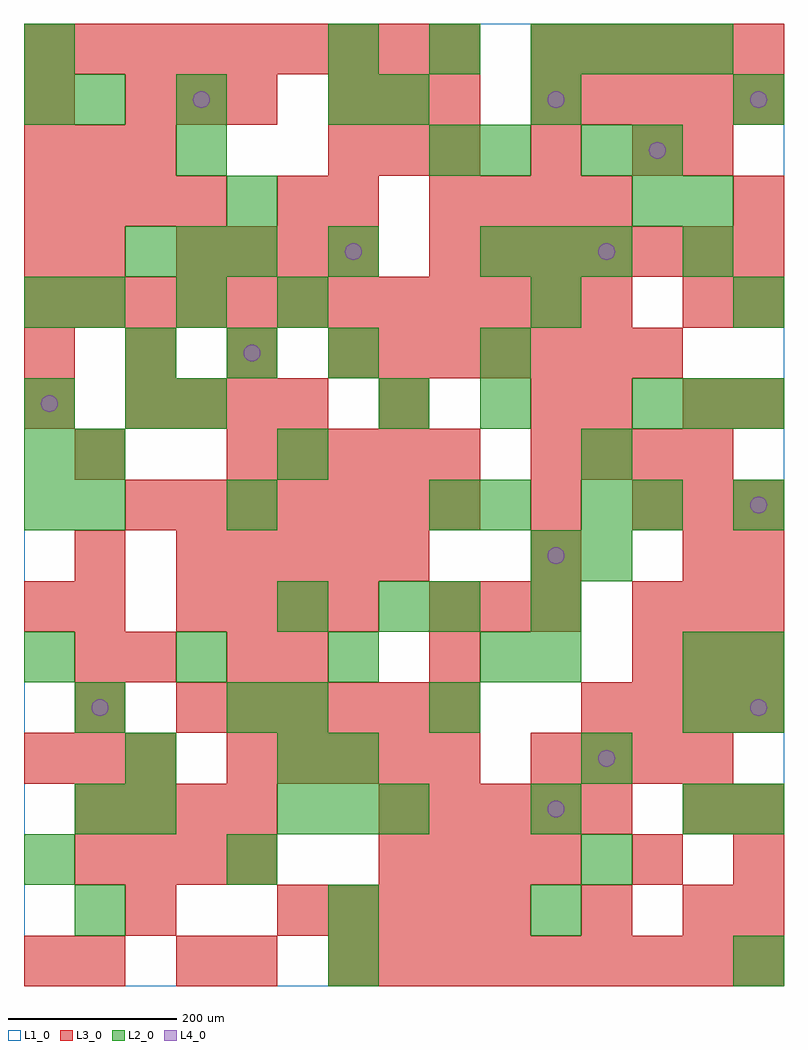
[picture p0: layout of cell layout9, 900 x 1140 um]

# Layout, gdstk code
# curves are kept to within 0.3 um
import gdstk
lib = gdstk.Library(unit=1e-6, precision=1e-09)
def R(c, l, rs):  # rectangles x0, y0, x1, y1
    for r in rs: c.add(gdstk.rectangle(r[:2], r[2:], *l))
def A(c, l, x, y, w, h, nx, ny, dx, dy):  # array of equal rectangles
    R(c, l, [(x+i*dx, y+j*dy, x+i*dx+w, y+j*dy+h) for i in range(nx) for j in range(ny)])
def P(c, l, *ps):  # polygons
    for p in ps: c.add(gdstk.Polygon(p, *l))
L1_0 = (1, 0)
L2_0 = (2, 0)
L3_0 = (3, 0)
L4_0 = (4, 0)

layout9 = lib.new_cell('layout9')
R(layout9, L1_0, [(0,0,900,1140)])
A(layout9, L2_0, 60, 60, 60, 60, 1, 3, 0, 120)
A(layout9, L2_0, 300, 180, 60, 60, 3, 1, 60, 0)
A(layout9, L2_0, 480, 300, 60, 60, 1, 3, 0, 120)
A(layout9, L2_0, 0, 360, 60, 60, 4, 1, 180, 0)
A(layout9, L2_0, 600, 360, 60, 60, 1, 3, 0, 60)
A(layout9, L2_0, 660, 480, 60, 60, 1, 3, 0, 60)
A(layout9, L2_0, 0, 540, 60, 60, 1, 3, 0, 60)
A(layout9, L2_0, 840, 540, 60, 60, 1, 3, 0, 240)
A(layout9, L2_0, 720, 660, 60, 60, 3, 1, 60, 0)
A(layout9, L2_0, 120, 720, 60, 60, 3, 1, 120, 0)
A(layout9, L2_0, 60, 780, 60, 60, 3, 1, 120, 0)
A(layout9, L2_0, 120, 840, 60, 60, 3, 1, 60, 0)
A(layout9, L2_0, 540, 840, 60, 60, 3, 1, 60, 0)
A(layout9, L2_0, 360, 1080, 60, 60, 3, 1, 120, 0)
A(layout9, L2_0, 660, 1080, 60, 60, 3, 1, 60, 0)
R(layout9, L2_0, [(360,0,420,60), (840,0,900,60), (360,60,420,120), (600,60,660,120), (0,120,60,180), (240,120,300,180), (660,120,720,180), (120,180,180,240), (600,180,660,240), (780,180,840,240), (840,180,900,240), (120,240,180,300), (300,240,360,300), (360,240,420,300), (660,240,720,300), (240,300,300,360), (300,300,360,360), (780,300,840,360), (840,300,900,360), (780,360,840,420), (840,360,900,420), (300,420,360,480), (420,420,480,480), (60,540,120,600), (240,540,300,600), (540,540,600,600), (720,540,780,600), (60,600,120,660), (300,600,360,660), (120,660,180,720), (180,660,240,720), (420,660,480,720), (540,660,600,720), (540,720,600,780), (0,780,60,840), (600,780,660,840), (360,840,420,900), (780,840,840,900), (240,900,300,960), (720,900,780,960), (780,900,840,960), (180,960,240,1020), (480,960,540,1020), (540,960,600,1020), (660,960,720,1020), (720,960,780,1020), (0,1020,60,1080), (60,1020,120,1080), (180,1020,240,1080), (360,1020,420,1080), (420,1020,480,1080), (600,1020,660,1080), (0,1080,60,1140)])
A(layout9, L3_0, 360, 0, 60, 60, 9, 1, 60, 0)
A(layout9, L3_0, 300, 60, 60, 60, 5, 1, 60, 0)
A(layout9, L3_0, 840, 60, 60, 60, 1, 3, 0, 60)
A(layout9, L3_0, 60, 120, 60, 60, 4, 2, 60, 60)
A(layout9, L3_0, 420, 120, 60, 60, 4, 1, 60, 0)
A(layout9, L3_0, 420, 180, 60, 60, 5, 1, 60, 0)
A(layout9, L3_0, 0, 240, 60, 60, 3, 2, 60, 720)
A(layout9, L3_0, 240, 240, 60, 60, 5, 2, 60, 360)
A(layout9, L3_0, 600, 240, 60, 60, 4, 2, 60, 360)
A(layout9, L3_0, 60, 300, 60, 60, 1, 4, 0, 60)
A(layout9, L3_0, 180, 300, 60, 60, 6, 1, 60, 0)
A(layout9, L3_0, 660, 300, 60, 60, 4, 1, 60, 0)
A(layout9, L3_0, 720, 360, 60, 60, 3, 2, 60, 60)
A(layout9, L3_0, 180, 420, 60, 60, 4, 2, 60, 420)
A(layout9, L3_0, 480, 420, 60, 60, 3, 1, 60, 0)
A(layout9, L3_0, 180, 480, 60, 60, 5, 1, 60, 0)
A(layout9, L3_0, 120, 540, 60, 60, 7, 1, 60, 0)
A(layout9, L3_0, 720, 540, 60, 60, 3, 1, 60, 0)
A(layout9, L3_0, 0, 660, 60, 60, 1, 3, 0, 180)
A(layout9, L3_0, 120, 660, 60, 60, 4, 1, 60, 0)
A(layout9, L3_0, 840, 660, 60, 60, 1, 3, 0, 120)
A(layout9, L3_0, 0, 720, 60, 60, 4, 1, 120, 0)
A(layout9, L3_0, 420, 720, 60, 60, 6, 1, 60, 0)
A(layout9, L3_0, 0, 780, 60, 60, 12, 1, 60, 0)
A(layout9, L3_0, 480, 840, 60, 60, 7, 1, 60, 0)
A(layout9, L3_0, 0, 900, 60, 60, 4, 1, 60, 0)
A(layout9, L3_0, 480, 900, 60, 60, 4, 1, 60, 0)
A(layout9, L3_0, 360, 960, 60, 60, 3, 2, 60, 60)
A(layout9, L3_0, 120, 1020, 60, 60, 3, 1, 60, 0)
A(layout9, L3_0, 600, 1020, 60, 60, 5, 2, 60, 60)
A(layout9, L3_0, 0, 1080, 60, 60, 9, 1, 60, 0)
R(layout9, L3_0, [(0,0,60,60), (60,0,120,60), (180,0,240,60), (240,0,300,60), (120,60,180,120), (660,60,720,120), (780,60,840,120), (720,120,780,180), (780,180,840,240), (120,360,180,420), (240,360,300,420), (300,360,360,420), (480,360,540,420), (0,420,60,480), (600,480,660,540), (780,480,840,540), (840,480,900,540), (600,540,660,600), (60,600,120,660), (420,660,480,720), (600,660,660,720), (660,660,720,720), (780,660,840,720), (780,780,840,840), (60,840,120,900), (300,900,360,960), (360,900,420,960), (600,960,660,1020), (720,960,780,1020), (780,960,840,1020)])
P(layout9, L4_0, [(40,690),(39.239,693.827),(37.071,697.071),(33.827,699.239),(30,700),(26.173,699.239),(22.929,697.071),(20.761,693.827),(20,690),(20.761,686.173),(22.929,682.929),(26.173,680.761),(30,680),(33.827,680.761),(37.071,682.929),(39.239,686.173)],
  [(100,330),(99.239,333.827),(97.071,337.071),(93.827,339.239),(90,340),(86.173,339.239),(82.929,337.071),(80.761,333.827),(80,330),(80.761,326.173),(82.929,322.929),(86.173,320.761),(90,320),(93.827,320.761),(97.071,322.929),(99.239,326.173)],
  [(220,1050),(219.239,1053.827),(217.071,1057.071),(213.827,1059.239),(210,1060),(206.173,1059.239),(202.929,1057.071),(200.761,1053.827),(200,1050),(200.761,1046.173),(202.929,1042.929),(206.173,1040.761),(210,1040),(213.827,1040.761),(217.071,1042.929),(219.239,1046.173)],
  [(280,750),(279.239,753.827),(277.071,757.071),(273.827,759.239),(270,760),(266.173,759.239),(262.929,757.071),(260.761,753.827),(260,750),(260.761,746.173),(262.929,742.929),(266.173,740.761),(270,740),(273.827,740.761),(277.071,742.929),(279.239,746.173)],
  [(400,870),(399.239,873.827),(397.071,877.071),(393.827,879.239),(390,880),(386.173,879.239),(382.929,877.071),(380.761,873.827),(380,870),(380.761,866.173),(382.929,862.929),(386.173,860.761),(390,860),(393.827,860.761),(397.071,862.929),(399.239,866.173)],
  [(640,210),(639.239,213.827),(637.071,217.071),(633.827,219.239),(630,220),(626.173,219.239),(622.929,217.071),(620.761,213.827),(620,210),(620.761,206.173),(622.929,202.929),(626.173,200.761),(630,200),(633.827,200.761),(637.071,202.929),(639.239,206.173)],
  [(640,510),(639.239,513.827),(637.071,517.071),(633.827,519.239),(630,520),(626.173,519.239),(622.929,517.071),(620.761,513.827),(620,510),(620.761,506.173),(622.929,502.929),(626.173,500.761),(630,500),(633.827,500.761),(637.071,502.929),(639.239,506.173)],
  [(640,1050),(639.239,1053.827),(637.071,1057.071),(633.827,1059.239),(630,1060),(626.173,1059.239),(622.929,1057.071),(620.761,1053.827),(620,1050),(620.761,1046.173),(622.929,1042.929),(626.173,1040.761),(630,1040),(633.827,1040.761),(637.071,1042.929),(639.239,1046.173)],
  [(700,270),(699.239,273.827),(697.071,277.071),(693.827,279.239),(690,280),(686.173,279.239),(682.929,277.071),(680.761,273.827),(680,270),(680.761,266.173),(682.929,262.929),(686.173,260.761),(690,260),(693.827,260.761),(697.071,262.929),(699.239,266.173)],
  [(700,870),(699.239,873.827),(697.071,877.071),(693.827,879.239),(690,880),(686.173,879.239),(682.929,877.071),(680.761,873.827),(680,870),(680.761,866.173),(682.929,862.929),(686.173,860.761),(690,860),(693.827,860.761),(697.071,862.929),(699.239,866.173)],
  [(760,990),(759.239,993.827),(757.071,997.071),(753.827,999.239),(750,1000),(746.173,999.239),(742.929,997.071),(740.761,993.827),(740,990),(740.761,986.173),(742.929,982.929),(746.173,980.761),(750,980),(753.827,980.761),(757.071,982.929),(759.239,986.173)],
  [(880,330),(879.239,333.827),(877.071,337.071),(873.827,339.239),(870,340),(866.173,339.239),(862.929,337.071),(860.761,333.827),(860,330),(860.761,326.173),(862.929,322.929),(866.173,320.761),(870,320),(873.827,320.761),(877.071,322.929),(879.239,326.173)],
  [(880,570),(879.239,573.827),(877.071,577.071),(873.827,579.239),(870,580),(866.173,579.239),(862.929,577.071),(860.761,573.827),(860,570),(860.761,566.173),(862.929,562.929),(866.173,560.761),(870,560),(873.827,560.761),(877.071,562.929),(879.239,566.173)],
  [(880,1050),(879.239,1053.827),(877.071,1057.071),(873.827,1059.239),(870,1060),(866.173,1059.239),(862.929,1057.071),(860.761,1053.827),(860,1050),(860.761,1046.173),(862.929,1042.929),(866.173,1040.761),(870,1040),(873.827,1040.761),(877.071,1042.929),(879.239,1046.173)])

lib.write_gds('layout9.gds')
